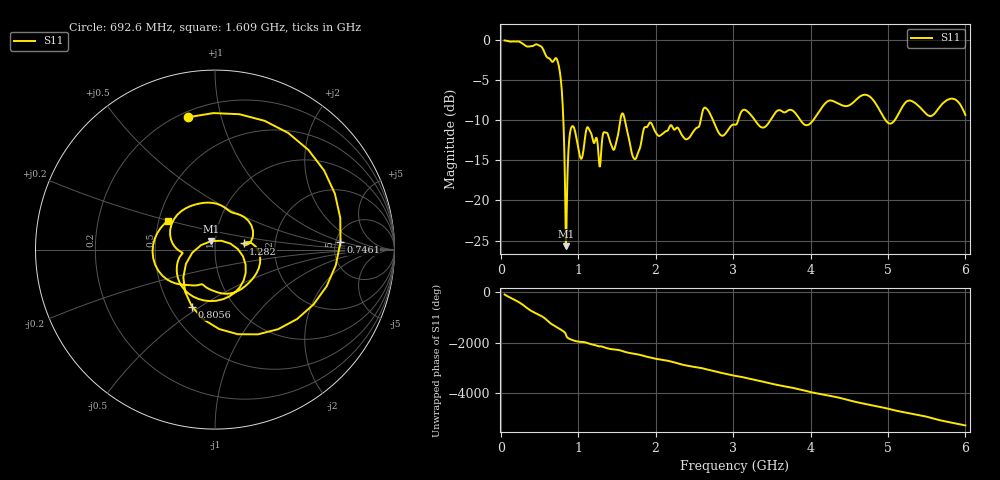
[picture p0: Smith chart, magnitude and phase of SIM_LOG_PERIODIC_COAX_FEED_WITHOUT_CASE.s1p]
! TOUCHSTONE file generated by CST MICROWAVE STUDIO
! Date and time: Sat Jan  3 18:05:57 2026
! Project name: PCB_LOG_PERIODIC.cst
! Parameters = {bowtie_linear_scaling_factor=0.85; bowtie_spacing=200; cnd_off1=0.25; cnd_off2=0.5; cnd_off3=1.5; copper_thickness=0.035; dielectric_eps=4.6; dielectric_thickness=1.5; feed_cut_len=1.5; feed_line_length=205; feed_line_width=4; first_bowtie_length=60; first_bowtie_pos_offset=30; first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
! Header version: 2024
! Port assignment regex: !\s*Touchstone port\s*([0-9]+)\s*=\s*(CST MWS port|CST DES external port|CST DES block port)\s*(.+)\s* \(\"(.*)\"\)(\s*mode\s*([0-9]+))?.*
! Touchstone port assignment:
! Touchstone port 1 = CST MWS port 1 ("")
# GHz S MA R 50
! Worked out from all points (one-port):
!   1001 points, 50 MHz to 6 GHz, reference 50 ohm
!   lowest |S11| = -25.7 dB at 841.4 MHz (marker M1), VSWR 1.11, Z = 47.7 + j4.52 ohm
!   |S11| at or under -10 dB: 808.5 MHz to 1.544 GHz (735.4 MHz wide, 62.5 % of centre); 1.603 GHz to 2.583 GHz (979.6 MHz wide, 46.8 % of centre); 2.74 GHz to 3.067 GHz (326.5 MHz wide, 11.2 % of centre)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
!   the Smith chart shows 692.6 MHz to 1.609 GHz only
!   S11 on the Smith chart (normalised r, x): 692.6 MHz: 0.23, +0.79; 746.1 MHz: 5.52, +0.90; 805.6 MHz: 0.64, -0.46; 1.282 GHz: 1.37, +0.10; 1.609 GHz: 0.56, +0.20
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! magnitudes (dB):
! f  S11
! 50 MHz  -0.1
! 692.6 MHz  -2.5
! 746.1 MHz  -3.1
! 793.8 MHz  -7.1
! 805.6 MHz  -9.3
! 841.4 MHz  -25.7
! 924.6 MHz  -10.8
! 1.032 GHz  -14.8
! 1.133 GHz  -11.0
! 1.282 GHz  -15.8
! 1.347 GHz  -11.5
! 1.472 GHz  -13.5
! 1.538 GHz  -10.4
! 1.609 GHz  -10.3
! 1.728 GHz  -14.8
! 1.918 GHz  -10.4
! 2.281 GHz  -10.9
! 2.424 GHz  -12.3
! 2.644 GHz  -8.5
! 2.846 GHz  -11.9
! 3.025 GHz  -10.6
! 3.769 GHz  -8.8
! 3.953 GHz  -10.6
! 4.513 GHz  -8.1
! 4.739 GHz  -6.9
! 5.03 GHz  -10.4
! 5.256 GHz  -7.6
! 6 GHz  -9.4
